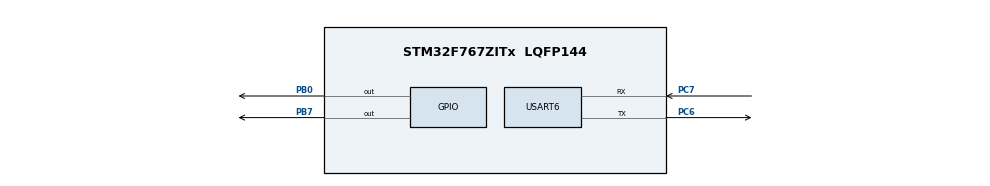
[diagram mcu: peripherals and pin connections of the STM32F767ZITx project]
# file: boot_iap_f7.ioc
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Mcu.Family=STM32F7
Mcu.Name=STM32F767ZITx
Mcu.Package=LQFP144
NVIC.PriorityGroup=NVIC_PRIORITYGROUP_4
NVIC.USART6_IRQn=true\:1\:0\:true\:false\:true\:true\:true
PB0.Signal=GPIO_Output
PB7.Signal=GPIO_Output
PC6.Mode=Asynchronous
PC6.Signal=USART6_TX
PC7.Mode=Asynchronous
PC7.Signal=USART6_RX
ProjectManager.HeapSize=0x200
ProjectManager.StackSize=0x400
ProjectManager.TargetToolchain=STM32CubeIDE
RCC.HSE_VALUE=25000000
RCC.HSI_VALUE=16000000
RCC.LSE_VALUE=32768
RCC.USBFreq_Value=96000000
RCC.VCOOutputFreq_Value=192000000
USART6.VirtualMode-Asynchronous=VM_ASYNC
board=custom

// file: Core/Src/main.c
/* USER CODE BEGIN Header */
/**
  ******************************************************************************
  * @file           : main.c
  * @brief          : Main program body
  ******************************************************************************
  * @attention
  *
  * <h2><center>&copy; Copyright (c) 2020 STMicroelectronics.
  * All rights reserved.</center></h2>
  *
  * This software component is licensed by ST under BSD 3-Clause license,
  * the "License"; You may not use this file except in compliance with the
  * License. You may obtain a copy of the License at:
  *                        opensource.org/licenses/BSD-3-Clause
  *
  ******************************************************************************
  */
/* USER CODE END Header */

#include "main.h"

/* USER CODE BEGIN Includes */
#include "menu.h"
/* USER CODE END Includes */

/* USER CODE BEGIN PTD */
extern pFunction JumpToApplication;
extern uint32_t JumpAddress ;
/* USER CODE END PTD */

/* USER CODE BEGIN PD */
#define UartHandle huart6;
/* USER CODE END PD */

UART_HandleTypeDef huart6;

/* USER CODE BEGIN PV */
uint8_t aRxBuffer[7];
uint8_t count;
_Bool flag ;

/* USER CODE END PV */

void SystemClock_Config(void);
static void MX_GPIO_Init(void);
static void MX_USART6_UART_Init(void);

int main(void)
{

  /* MCU Configuration--------------------------------------------------------*/

  /* Reset of all peripherals, Initializes the Flash interface and the Systick. */
  HAL_Init();

  /* USER CODE BEGIN Init */
  flag=0;

  /* USER CODE END Init */

  /* Configure the system clock */
  SystemClock_Config();

  /* Initialize all configured peripherals */
  MX_GPIO_Init();
  MX_USART6_UART_Init();

  /* USER CODE BEGIN 2 */

  if(HAL_UART_Transmit(&huart6, "RESTART\r\n", 9, 10)==HAL_OK)
  {
	  HAL_GPIO_TogglePin(GPIOB,GPIO_PIN_0);
	  HAL_UART_Receive_IT(&huart6, (uint8_t *)aRxBuffer, 7);
  }
  /* USER CODE END 2 */

  /* Infinite loop */
  while (1)
  {

    /* USER CODE BEGIN 3 */
	  if (flag ==1)
	  {
		  Main_Menu();
		  flag = 0;
	  }
	  HAL_Delay(1000);

	  if (flag==0)
	  {
		  uint32_t ramstart = (*(__IO uint32_t*) APPLICATION_ADDRESS) & 0x2FFE0000;
		  if ( ramstart == 0x20080000 || ramstart == 0x20000000)
		  {
			  JumpAddress = *(__IO uint32_t*) (APPLICATION_ADDRESS + 4);
			  JumpToApplication = (pFunction) JumpAddress;
			  __set_MSP(*(__IO uint32_t*) APPLICATION_ADDRESS);
			  HAL_Delay(500);
			  __disable_irq();
			  JumpToApplication();
		  }
	  }

  }
  /* USER CODE END 3 */
}

void SystemClock_Config(void)
{
  RCC_OscInitTypeDef RCC_OscInitStruct = {0};
  RCC_ClkInitTypeDef RCC_ClkInitStruct = {0};
  RCC_PeriphCLKInitTypeDef PeriphClkInitStruct = {0};

  /** Configure the main internal regulator output voltage
  */
  __HAL_RCC_PWR_CLK_ENABLE();
  __HAL_PWR_VOLTAGESCALING_CONFIG(PWR_REGULATOR_VOLTAGE_SCALE3);
  /** Initializes the CPU, AHB and APB busses clocks
  */
  RCC_OscInitStruct.OscillatorType = RCC_OSCILLATORTYPE_HSI;
  RCC_OscInitStruct.HSIState = RCC_HSI_ON;
  RCC_OscInitStruct.HSICalibrationValue = RCC_HSICALIBRATION_DEFAULT;
  RCC_OscInitStruct.PLL.PLLState = RCC_PLL_NONE;
  if (HAL_RCC_OscConfig(&RCC_OscInitStruct) != HAL_OK)
  {
    Error_Handler();
  }
  /** Initializes the CPU, AHB and APB busses clocks
  */
  RCC_ClkInitStruct.ClockType = RCC_CLOCKTYPE_HCLK|RCC_CLOCKTYPE_SYSCLK
                              |RCC_CLOCKTYPE_PCLK1|RCC_CLOCKTYPE_PCLK2;
  RCC_ClkInitStruct.SYSCLKSource = RCC_SYSCLKSOURCE_HSI;
  RCC_ClkInitStruct.AHBCLKDivider = RCC_SYSCLK_DIV1;
  RCC_ClkInitStruct.APB1CLKDivider = RCC_HCLK_DIV1;
  RCC_ClkInitStruct.APB2CLKDivider = RCC_HCLK_DIV1;

  if (HAL_RCC_ClockConfig(&RCC_ClkInitStruct, FLASH_LATENCY_0) != HAL_OK)
  {
    Error_Handler();
  }
  PeriphClkInitStruct.PeriphClockSelection = RCC_PERIPHCLK_USART6;
  PeriphClkInitStruct.Usart6ClockSelection = RCC_USART6CLKSOURCE_PCLK2;
  if (HAL_RCCEx_PeriphCLKConfig(&PeriphClkInitStruct) != HAL_OK)
  {
    Error_Handler();
  }
}

static void MX_USART6_UART_Init(void)
{

  huart6.Instance = USART6;
  huart6.Init.BaudRate = 115200;
  huart6.Init.WordLength = UART_WORDLENGTH_8B;
  huart6.Init.StopBits = UART_STOPBITS_1;
  huart6.Init.Parity = UART_PARITY_NONE;
  huart6.Init.Mode = UART_MODE_TX_RX;
  huart6.Init.HwFlowCtl = UART_HWCONTROL_NONE;
  huart6.Init.OverSampling = UART_OVERSAMPLING_16;
  huart6.Init.OneBitSampling = UART_ONE_BIT_SAMPLE_DISABLE;
  huart6.AdvancedInit.AdvFeatureInit = UART_ADVFEATURE_NO_INIT;
  if (HAL_UART_Init(&huart6) != HAL_OK)
  {
    Error_Handler();
  }

}

static void MX_GPIO_Init(void)
{
  GPIO_InitTypeDef GPIO_InitStruct = {0};

  /* GPIO Ports Clock Enable */
  __HAL_RCC_GPIOB_CLK_ENABLE();
  __HAL_RCC_GPIOC_CLK_ENABLE();

  /*Configure GPIO pin Output Level */
  HAL_GPIO_WritePin(GPIOB, GPIO_PIN_0|GPIO_PIN_7, GPIO_PIN_RESET);

  /*Configure GPIO pins : PB0 PB7 */
  GPIO_InitStruct.Pin = GPIO_PIN_0|GPIO_PIN_7;
  GPIO_InitStruct.Mode = GPIO_MODE_OUTPUT_PP;
  GPIO_InitStruct.Pull = GPIO_NOPULL;
  GPIO_InitStruct.Speed = GPIO_SPEED_FREQ_LOW;
  HAL_GPIO_Init(GPIOB, &GPIO_InitStruct);

}

/* USER CODE BEGIN 4 */
void HAL_UART_RxCpltCallback(UART_HandleTypeDef *huart)
{
  /* Prevent unused argument(s) compilation warning */
  UNUSED(huart);
  HAL_GPIO_TogglePin(GPIOB,GPIO_PIN_7);
  if(aRxBuffer[0] == 'r' & aRxBuffer[6]=='t')
  {
	  HAL_UART_Transmit(huart, "IAP START", 9,0x2710);
	  flag=1;
  }
}

/* USER CODE END 4 */

void Error_Handler(void)
{
}

/************************ (C) COPYRIGHT STMicroelectronics *****END OF FILE****/
